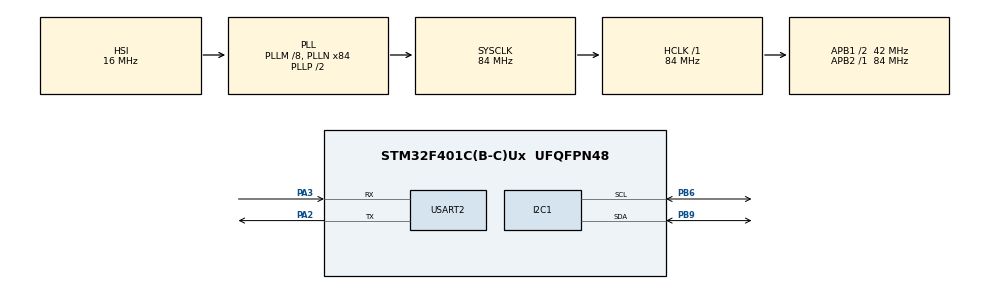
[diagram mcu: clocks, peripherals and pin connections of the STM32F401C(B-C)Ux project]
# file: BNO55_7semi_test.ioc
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I2C1.I2C_Mode=I2C_Fast
Mcu.Family=STM32F4
Mcu.Name=STM32F401C(B-C)Ux
Mcu.Package=UFQFPN48
NVIC.PriorityGroup=NVIC_PRIORITYGROUP_4
PA2.Mode=Asynchronous
PA2.Signal=USART2_TX
PA3.Mode=Asynchronous
PA3.Signal=USART2_RX
PB6.Mode=I2C
PB6.Signal=I2C1_SCL
PB9.Mode=I2C
PB9.Signal=I2C1_SDA
ProjectManager.HeapSize=0x200
ProjectManager.StackSize=0x400
ProjectManager.TargetToolchain=STM32CubeIDE
RCC.48MHZClocksFreq_Value=42000000
RCC.AHBFreq_Value=84000000
RCC.APB1CLKDivider=RCC_HCLK_DIV2
RCC.APB1Freq_Value=42000000
RCC.APB1TimFreq_Value=84000000
RCC.APB2Freq_Value=84000000
RCC.APB2TimFreq_Value=84000000
RCC.CortexFreq_Value=84000000
RCC.HCLKFreq_Value=84000000
RCC.HSE_VALUE=25000000
RCC.HSI_VALUE=16000000
RCC.LSE_VALUE=32768
RCC.PLLM=8
RCC.PLLN=84
RCC.SYSCLKFreq_VALUE=84000000
RCC.SYSCLKSource=RCC_SYSCLKSOURCE_PLLCLK
RCC.VCOOutputFreq_Value=168000000
USART2.VirtualMode=VM_ASYNC
board=custom

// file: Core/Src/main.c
/* USER CODE BEGIN Header */
/**
 ******************************************************************************
 * @file           : main.c
 * @brief          : Main program body
 ******************************************************************************
 * @attention
 *
 * Copyright (c) 2026 STMicroelectronics.
 * All rights reserved.
 *
 * This software is licensed under terms that can be found in the LICENSE file
 * in the root directory of this software component.
 * If no LICENSE file comes with this software, it is provided AS-IS.
 *
 ******************************************************************************
 */
/* USER CODE END Header */
#include "main.h"

/* USER CODE BEGIN Includes */
#include "bno055_stm32.h"
/* USER CODE END Includes */

I2C_HandleTypeDef hi2c1;

UART_HandleTypeDef huart2;

void SystemClock_Config(void);
static void MX_GPIO_Init(void);
static void MX_I2C1_Init(void);
static void MX_USART2_UART_Init(void);

/* USER CODE BEGIN 0 */
// Send printf to uart1
int _write(int fd, char* ptr, int len) {
  HAL_StatusTypeDef hstatus;

  if (fd == 1 || fd == 2) {
    hstatus = HAL_UART_Transmit(&huart2, (uint8_t *) ptr, len, HAL_MAX_DELAY);
    if (hstatus == HAL_OK)
      return len;
    else
      return -1;
  }
  return -1;
}
/* USER CODE END 0 */

int main(void)
{

  /* MCU Configuration--------------------------------------------------------*/

  /* Reset of all peripherals, Initializes the Flash interface and the Systick. */
  HAL_Init();

  /* Configure the system clock */
  SystemClock_Config();

  /* Initialize all configured peripherals */
  MX_GPIO_Init();
  MX_I2C1_Init();
  MX_USART2_UART_Init();
  /* USER CODE BEGIN 2 */
	bno055_assignI2C(&hi2c1);
	bno055_setup();
	bno055_setOperationModeNDOF();
  /* USER CODE END 2 */

  /* Infinite loop */
  /* USER CODE BEGIN WHILE */
	while (1)
	{
		float v = bno055_getHeadingContinuous();
		printf("Heading: %.2f\r\n", v);
    /* USER CODE END WHILE */

	}
}

void SystemClock_Config(void)
{
  RCC_OscInitTypeDef RCC_OscInitStruct = {0};
  RCC_ClkInitTypeDef RCC_ClkInitStruct = {0};

  /** Configure the main internal regulator output voltage
  */
  __HAL_RCC_PWR_CLK_ENABLE();
  __HAL_PWR_VOLTAGESCALING_CONFIG(PWR_REGULATOR_VOLTAGE_SCALE2);

  /** Initializes the RCC Oscillators according to the specified parameters
  * in the RCC_OscInitTypeDef structure.
  */
  RCC_OscInitStruct.OscillatorType = RCC_OSCILLATORTYPE_HSI;
  RCC_OscInitStruct.HSIState = RCC_HSI_ON;
  RCC_OscInitStruct.HSICalibrationValue = RCC_HSICALIBRATION_DEFAULT;
  RCC_OscInitStruct.PLL.PLLState = RCC_PLL_ON;
  RCC_OscInitStruct.PLL.PLLSource = RCC_PLLSOURCE_HSI;
  RCC_OscInitStruct.PLL.PLLM = 8;
  RCC_OscInitStruct.PLL.PLLN = 84;
  RCC_OscInitStruct.PLL.PLLP = RCC_PLLP_DIV2;
  RCC_OscInitStruct.PLL.PLLQ = 4;
  if (HAL_RCC_OscConfig(&RCC_OscInitStruct) != HAL_OK)
  {
    Error_Handler();
  }

  /** Initializes the CPU, AHB and APB buses clocks
  */
  RCC_ClkInitStruct.ClockType = RCC_CLOCKTYPE_HCLK|RCC_CLOCKTYPE_SYSCLK
                              |RCC_CLOCKTYPE_PCLK1|RCC_CLOCKTYPE_PCLK2;
  RCC_ClkInitStruct.SYSCLKSource = RCC_SYSCLKSOURCE_PLLCLK;
  RCC_ClkInitStruct.AHBCLKDivider = RCC_SYSCLK_DIV1;
  RCC_ClkInitStruct.APB1CLKDivider = RCC_HCLK_DIV2;
  RCC_ClkInitStruct.APB2CLKDivider = RCC_HCLK_DIV1;

  if (HAL_RCC_ClockConfig(&RCC_ClkInitStruct, FLASH_LATENCY_2) != HAL_OK)
  {
    Error_Handler();
  }
}

static void MX_I2C1_Init(void)
{

  hi2c1.Instance = I2C1;
  hi2c1.Init.ClockSpeed = 400000;
  hi2c1.Init.DutyCycle = I2C_DUTYCYCLE_2;
  hi2c1.Init.OwnAddress1 = 0;
  hi2c1.Init.AddressingMode = I2C_ADDRESSINGMODE_7BIT;
  hi2c1.Init.DualAddressMode = I2C_DUALADDRESS_DISABLE;
  hi2c1.Init.OwnAddress2 = 0;
  hi2c1.Init.GeneralCallMode = I2C_GENERALCALL_DISABLE;
  hi2c1.Init.NoStretchMode = I2C_NOSTRETCH_DISABLE;
  if (HAL_I2C_Init(&hi2c1) != HAL_OK)
  {
    Error_Handler();
  }

}

static void MX_USART2_UART_Init(void)
{

  huart2.Instance = USART2;
  huart2.Init.BaudRate = 115200;
  huart2.Init.WordLength = UART_WORDLENGTH_8B;
  huart2.Init.StopBits = UART_STOPBITS_1;
  huart2.Init.Parity = UART_PARITY_NONE;
  huart2.Init.Mode = UART_MODE_TX_RX;
  huart2.Init.HwFlowCtl = UART_HWCONTROL_NONE;
  huart2.Init.OverSampling = UART_OVERSAMPLING_16;
  if (HAL_UART_Init(&huart2) != HAL_OK)
  {
    Error_Handler();
  }

}

static void MX_GPIO_Init(void)
{

  /* GPIO Ports Clock Enable */
  __HAL_RCC_GPIOA_CLK_ENABLE();
  __HAL_RCC_GPIOB_CLK_ENABLE();

}

void Error_Handler(void)
{
	__disable_irq();
	while (1)
	{
	}
}
